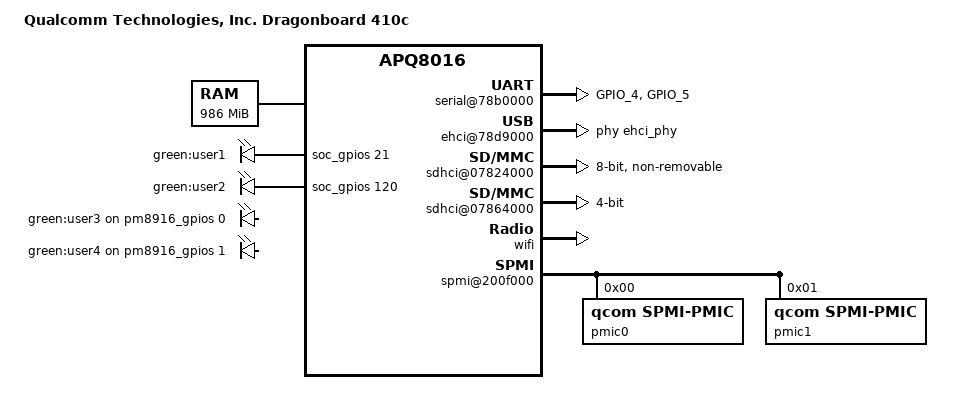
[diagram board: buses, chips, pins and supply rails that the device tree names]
// SPDX-License-Identifier: GPL-2.0+
/*
 * Qualcomm APQ8016 based Dragonboard 410C board device tree source
 *
 * (C) Copyright 2015 Mateusz Kulikowski <mateusz.kulikowski@gmail.com>
 */

/dts-v1/;

#include "skeleton64.dtsi"
#include <dt-bindings/pinctrl/pinctrl-snapdragon.h>

/ {
	model = "Qualcomm Technologies, Inc. Dragonboard 410c";
	compatible = "qcom,dragonboard", "qcom,apq8016-sbc";
	qcom,msm-id = <0xce 0x0 0xf8 0x0 0xf9 0x0 0xfa 0x0 0xf7 0x0>;
	qcom,board-id = <0x10018 0x0>;
	#address-cells = <0x2>;
	#size-cells = <0x2>;

	aliases {
		usb0 = "/soc/ehci@78d9000";
	};

	memory {
		device_type = "memory";
		reg = <0 0x80000000 0 0x3da00000>;
	};

	reserved-memory {
		#address-cells = <2>;
		#size-cells = <2>;
		ranges;

		smem_mem: smem_region@86300000 {
			reg = <0x0 0x86300000 0x0 0x100000>;
			no-map;
		};
	};

	chosen {
		stdout-path = "/soc/serial@78b0000";
	};

	smem {
		compatible = "qcom,smem";
		memory-region = <&smem_mem>;
		qcom,rpm-msg-ram = <&rpm_msg_ram>;
	};

	soc {
		#address-cells = <0x1>;
		#size-cells = <0x1>;
		ranges = <0x0 0x0 0x0 0xffffffff>;
		compatible = "simple-bus";

		rpm_msg_ram: memory@60000 {
			compatible = "qcom,rpm-msg-ram";
			reg = <0x60000 0x8000>;
		};

		pinctrl: qcom,tlmm@1000000 {
			compatible = "qcom,tlmm-apq8016";
			reg = <0x1000000 0x400000>;

			blsp1_uart: uart {
				function = "blsp1_uart";
				pins = "GPIO_4", "GPIO_5";
				drive-strength = <DRIVE_STRENGTH_8MA>;
				bias-disable;
			};
		};
		clkc: qcom,gcc@1800000 {
			compatible = "qcom,gcc-apq8016";
			reg = <0x1800000 0x80000>;
			#address-cells = <0x1>;
			#size-cells = <0x0>;
		};

		serial@78b0000 {
			compatible = "qcom,msm-uartdm-v1.4";
			reg = <0x78b0000 0x200>;
			clock = <&clkc 4>;
			pinctrl-names = "uart";
			pinctrl-0 = <&blsp1_uart>;
		};

		soc_gpios: pinctrl@1000000 {
			compatible = "qcom,apq8016-pinctrl";
			reg = <0x1000000 0x300000>;
			gpio-controller;
			gpio-count = <122>;
			gpio-bank-name="soc";
			#gpio-cells = <1>;
		};

		ehci@78d9000 {
			compatible = "qcom,ehci-host";
			reg = <0x78d9000 0x400>;
			phys = <&ehci_phy>;
		};

		ehci_phy: ehci_phy@78d9000 {
			compatible = "qcom,apq8016-usbphy";
			reg = <0x78d9000 0x400>;
			#phy-cells = <0>;
		};

		sdhci@07824000 {
			compatible = "qcom,sdhci-msm-v4";
			reg = <0x7824900 0x11c 0x7824000 0x800>;
			bus-width = <0x8>;
			index = <0x0>;
			non-removable;
			clock = <&clkc 0>;
			clock-frequency = <100000000>;
		};

		sdhci@07864000 {
			compatible = "qcom,sdhci-msm-v4";
			reg = <0x7864900 0x11c 0x7864000 0x800>;
			index = <0x1>;
			bus-width = <0x4>;
			clock = <&clkc 1>;
			clock-frequency = <200000000>;
		};

		wcnss {
			bt {
				compatible="qcom,wcnss-bt";
			};

			wifi {
				compatible="qcom,wcnss-wlan";
			};
		};

		spmi@200f000 {
			compatible = "qcom,spmi-pmic-arb";
			reg = <0x200f800 0x200 0x2400000 0x400000 0x2c00000 0x400000>;
			#address-cells = <0x1>;
			#size-cells = <0x1>;
			pmic0: pm8916@0 {
				compatible = "qcom,spmi-pmic";
				reg = <0x0 0x1>;
				#address-cells = <0x1>;
				#size-cells = <0x1>;

				pm8916_pon: pm8916_pon@800 {
					compatible = "qcom,pm8916-pwrkey";
					reg = <0x800 0x96>;
					#gpio-cells = <2>;
					gpio-controller;
				};

				pm8916_gpios: pm8916_gpios@c000 {
					compatible = "qcom,pm8916-gpio";
					reg = <0xc000 0x400>;
					gpio-controller;
					gpio-count = <4>;
					#gpio-cells = <2>;
					gpio-bank-name="pmic";
				};
			};

			pmic1: pm8916@1 {
				compatible = "qcom,spmi-pmic";
				reg = <0x1 0x1>;
			};
		};
	};

	leds {
		compatible = "gpio-leds";
		user1 {
			label = "green:user1";
			gpios = <&soc_gpios 21 0>;
		};

		user2 {
			label = "green:user2";
			gpios = <&soc_gpios 120 0>;
		};

		user3 {
			label = "green:user3";
			gpios = <&pm8916_gpios 0 0>;
		};

		user4 {
			label = "green:user4";
			gpios = <&pm8916_gpios 1 0>;
		};
	};
};

#include "dragonboard410c-uboot.dtsi"
